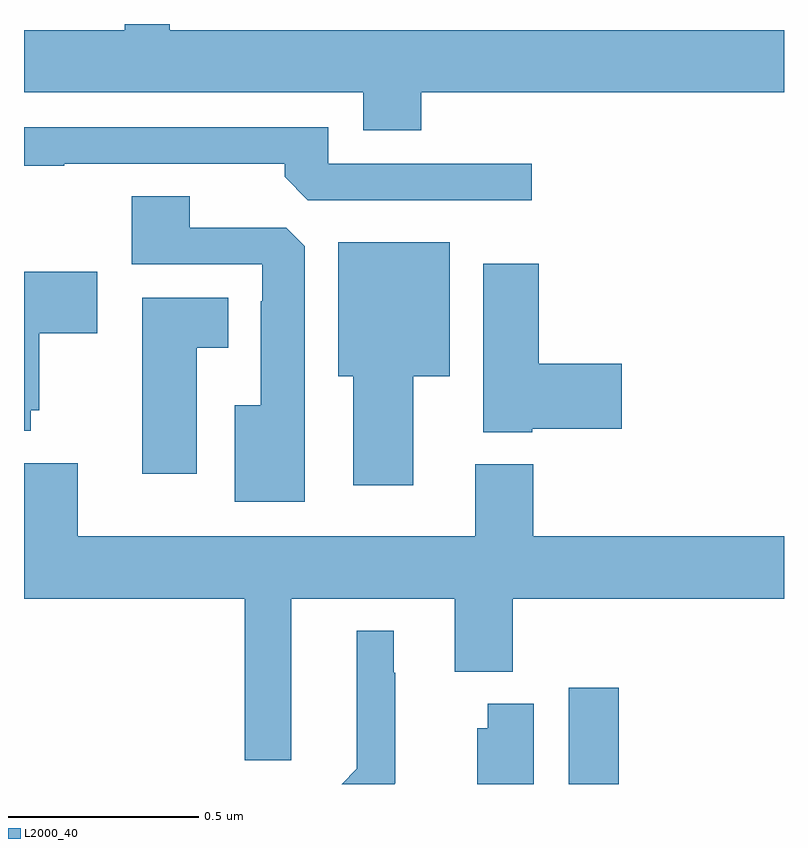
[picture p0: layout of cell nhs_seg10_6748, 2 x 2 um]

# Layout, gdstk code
import gdstk
lib = gdstk.Library(unit=1e-6, precision=1e-09)
def R(c, l, rs):  # rectangles x0, y0, x1, y1
    for r in rs: c.add(gdstk.rectangle(r[:2], r[2:], *l))
def P(c, l, *ps):  # polygons
    for p in ps: c.add(gdstk.Polygon(p, *l))
L2000_40 = (2000, 40)

nhs_seg10_6748 = lib.new_cell('nhs_seg10_6748')
R(nhs_seg10_6748, L2000_40, [(196.433,1294.5,196.565,1294.753)])
P(nhs_seg10_6748, L2000_40, [(196.046,1296.32),(197,1296.32),(197,1296.484),(195.383,1296.484),(195.383,1296.5),(195.265,1296.5),(195.265,1296.484),(195,1296.484),(195,1296.32),(195.893,1296.32),(195.893,1296.221),(196.046,1296.221)],
  [(196.336,1296.132),(195.801,1296.132),(195.801,1296.228),(195,1296.228),(195,1296.127),(195.106,1296.127),(195.106,1296.132),(195.686,1296.132),(195.686,1296.098),(195.747,1296.036),(196.336,1296.036)],
  [(195.739,1295.915),(195.69,1295.964),(195.436,1295.964),(195.436,1296.047),(195.284,1296.047),(195.284,1295.868),(195.627,1295.868),(195.627,1295.771),(195.623,1295.771),(195.623,1295.497),(195.554,1295.497),(195.554,1295.243),(195.739,1295.243)],
  [(196.024,1295.573),(196.12,1295.573),(196.12,1295.926),(195.827,1295.926),(195.827,1295.573),(195.866,1295.573),(195.866,1295.286),(196.024,1295.286)],
  [(196.338,1295.435),(196.573,1295.435),(196.573,1295.606),(196.355,1295.606),(196.355,1295.869),(196.208,1295.869),(196.208,1295.426),(196.338,1295.426)],
  [(195.018,1295.483),(195.04,1295.483),(195.04,1295.686),(195.193,1295.686),(195.193,1295.848),(195,1295.848),(195,1295.429),(195.018,1295.429)],
  [(195.454,1295.648),(195.538,1295.648),(195.538,1295.779),(195.311,1295.779),(195.311,1295.316),(195.454,1295.316)],
  [(195.703,1294.988),(196.133,1294.988),(196.133,1294.796),(196.286,1294.796),(196.286,1294.988),(197,1294.988),(197,1295.152),(196.34,1295.152),(196.34,1295.341),(196.187,1295.341),(196.187,1295.152),(195.142,1295.152),(195.142,1295.344),(195,1295.344),(195,1294.988),(195.581,1294.988),(195.581,1294.563),(195.703,1294.563)],
  [(195.977,1294.502),(195.977,1294.793),(195.973,1294.793),(195.973,1294.903),(195.875,1294.903),(195.875,1294.642),(195.876,1294.642),(195.876,1294.54),(195.836,1294.5),(195.975,1294.5)],
  [(196.342,1294.711),(196.22,1294.711),(196.22,1294.647),(196.193,1294.647),(196.193,1294.5),(196.342,1294.5)])

lib.write_gds('nhs_seg10_6748.gds')
